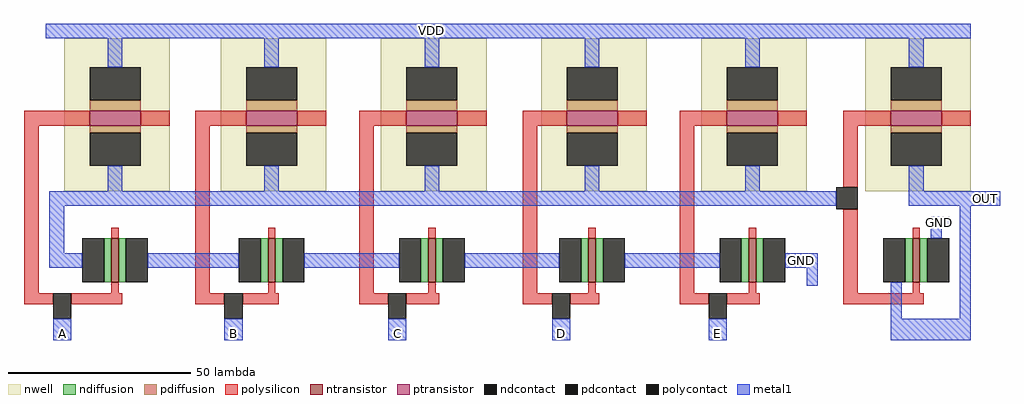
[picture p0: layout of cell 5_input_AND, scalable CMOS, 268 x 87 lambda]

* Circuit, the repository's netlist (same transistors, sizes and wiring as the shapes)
* SPICE3 file created from 5_input.ext - technology: scmos

.option scale=0.09u

M1000 a_14_n29# A a_4_n29# Gnd nfet w=12 l=2
+  ad=192 pd=80 as=96 ps=40
M1001 a_57_n29# B a_14_n29# Gnd nfet w=12 l=2
+  ad=192 pd=80 as=0 ps=0
M1002 VDD C a_4_n29# w_86_n4# pfet w=14 l=4
+  ad=1008 pd=312 as=770 ps=250
M1003 VDD A a_4_n29# w_n1_n4# pfet w=14 l=4
+  ad=0 pd=0 as=0 ps=0
M1004 GND a_4_n29# OUT Gnd nfet w=12 l=2
+  ad=192 pd=80 as=96 ps=40
M1005 VDD E a_4_n29# w_174_n4# pfet w=14 l=4
+  ad=0 pd=0 as=0 ps=0
M1006 VDD B a_4_n29# w_42_n4# pfet w=14 l=4
+  ad=0 pd=0 as=0 ps=0
M1007 VDD a_4_n29# OUT w_219_n4# pfet w=14 l=4
+  ad=0 pd=0 as=154 ps=50
M1008 VDD D a_4_n29# w_130_n4# pfet w=14 l=4
+  ad=0 pd=0 as=0 ps=0
M1009 GND E a_145_n29# Gnd nfet w=12 l=2
+  ad=0 pd=0 as=192 ps=80
M1010 a_101_n29# C a_57_n29# Gnd nfet w=12 l=2
+  ad=192 pd=80 as=0 ps=0
M1011 a_145_n29# D a_101_n29# Gnd nfet w=12 l=2
+  ad=0 pd=0 as=0 ps=0

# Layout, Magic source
magic
tech scmos
<< nwell >>
rect -1 -4 28 38
rect 42 -4 71 38
rect 86 -4 115 38
rect 130 -4 159 38
rect 174 -4 203 38
rect 219 -4 248 38
<< ntransistor >>
rect 12 -29 14 -17
rect 55 -29 57 -17
rect 99 -29 101 -17
rect 143 -29 145 -17
rect 187 -29 189 -17
rect 232 -29 234 -17
<< ptransistor >>
rect 6 14 20 18
rect 49 14 63 18
rect 93 14 107 18
rect 137 14 151 18
rect 181 14 195 18
rect 226 14 240 18
<< ndiffusion >>
rect 10 -29 12 -17
rect 14 -29 16 -17
rect 53 -29 55 -17
rect 57 -29 59 -17
rect 97 -29 99 -17
rect 101 -29 103 -17
rect 141 -29 143 -17
rect 145 -29 147 -17
rect 185 -29 187 -17
rect 189 -29 191 -17
rect 230 -29 232 -17
rect 234 -29 236 -17
<< pdiffusion >>
rect 6 18 20 21
rect 49 18 63 21
rect 93 18 107 21
rect 137 18 151 21
rect 181 18 195 21
rect 226 18 240 21
rect 6 12 20 14
rect 49 12 63 14
rect 93 12 107 14
rect 137 12 151 14
rect 181 12 195 14
rect 226 12 240 14
<< ndcontact >>
rect 4 -29 10 -17
rect 16 -29 22 -17
rect 47 -29 53 -17
rect 59 -29 65 -17
rect 91 -29 97 -17
rect 103 -29 109 -17
rect 135 -29 141 -17
rect 147 -29 153 -17
rect 179 -29 185 -17
rect 191 -29 197 -17
rect 224 -29 230 -17
rect 236 -29 242 -17
<< pdcontact >>
rect 6 21 20 30
rect 49 21 63 30
rect 93 21 107 30
rect 137 21 151 30
rect 181 21 195 30
rect 226 21 240 30
rect 6 3 20 12
rect 49 3 63 12
rect 93 3 107 12
rect 137 3 151 12
rect 181 3 195 12
rect 226 3 240 12
<< polysilicon >>
rect -12 14 6 18
rect 20 14 28 18
rect 35 14 49 18
rect 63 14 71 18
rect 80 14 93 18
rect 107 14 115 18
rect 125 14 137 18
rect 151 14 159 18
rect 168 14 181 18
rect 195 14 203 18
rect 213 14 226 18
rect 240 14 248 18
rect -12 -32 -8 14
rect 12 -17 14 -14
rect 12 -32 14 -29
rect 35 -32 39 14
rect 55 -17 57 -14
rect 55 -32 57 -29
rect 80 -32 84 14
rect 99 -17 101 -14
rect 99 -32 101 -29
rect 125 -32 129 14
rect 143 -17 145 -14
rect 143 -32 145 -29
rect 168 -32 172 14
rect 213 -3 217 14
rect 187 -17 189 -14
rect 187 -32 189 -29
rect 213 -32 217 -9
rect 232 -17 234 -14
rect 232 -32 234 -29
rect -12 -35 -4 -32
rect 1 -35 15 -32
rect 35 -35 43 -32
rect 48 -35 58 -32
rect 80 -35 88 -32
rect 93 -35 102 -32
rect 125 -35 133 -32
rect 138 -35 146 -32
rect 168 -35 176 -32
rect 181 -35 190 -32
rect 213 -35 235 -32
<< polycontact >>
rect 211 -9 217 -3
rect -4 -39 1 -32
rect 43 -39 48 -32
rect 88 -39 93 -32
rect 133 -39 138 -32
rect 176 -39 181 -32
<< metal1 >>
rect -6 38 248 42
rect 11 30 15 38
rect 54 30 58 38
rect 98 30 102 38
rect 142 30 146 38
rect 186 30 190 38
rect 231 30 235 38
rect 11 -4 15 3
rect 54 -4 58 3
rect 98 -4 102 3
rect 142 -4 146 3
rect 186 -4 190 3
rect -5 -8 211 -4
rect -5 -21 -1 -8
rect 231 -4 235 3
rect 231 -8 256 -4
rect 237 -14 242 -11
rect 237 -17 240 -14
rect -5 -25 4 -21
rect 22 -25 47 -21
rect 65 -25 91 -21
rect 109 -25 135 -21
rect 153 -25 179 -21
rect 197 -25 206 -21
rect 203 -30 206 -25
rect -4 -45 1 -39
rect 43 -45 48 -39
rect 88 -45 93 -39
rect 133 -45 138 -39
rect 176 -45 181 -39
rect 226 -39 229 -29
rect 245 -39 248 -8
rect 226 -45 248 -39
<< labels >>
flabel metal1 -2 38 202 42 0 FreeSans 8 0 0 0 VDD
flabel metal1 176 -45 181 -41 0 FreeSans 9 0 0 0 E
flabel metal1 133 -45 138 -41 0 FreeSans 9 0 0 0 D
flabel metal1 88 -45 93 -41 0 FreeSans 9 0 0 0 C
flabel metal1 43 -45 48 -41 0 FreeSans 9 0 0 0 B
flabel metal1 -4 -45 1 -41 0 FreeSans 9 0 0 0 A
flabel metal1 237 -14 242 -11 0 FreeSans 8 0 0 0 GND
flabel metal1 248 -8 256 -4 0 FreeSans 8 0 0 0 OUT
flabel metal1 197 -25 206 -21 0 FreeSans 8 0 0 0 GND
<< end >>
